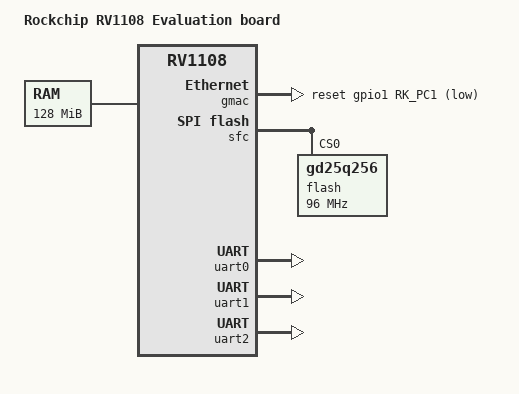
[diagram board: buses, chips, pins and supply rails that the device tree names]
/*
 * (C) Copyright 2016 Rockchip Electronics Co., Ltd
 *
 * SPDX-License-Identifier:     GPL-2.0+
 */

/dts-v1/;

#include "rv1108.dtsi"

/ {
	model = "Rockchip RV1108 Evaluation board";
	compatible = "rockchip,rv1108-evb", "rockchip,rv1108";

	memory@60000000 {
		device_type = "memory";
		reg = <0x60000000 0x08000000>;
	};

	chosen {
		stdout-path = "serial2:1500000n8";
	};
};

&gmac {
	status = "okay";
	clock_in_out = <0>;
	snps,reset-active-low;
	snps,reset-delays-us = <0 10000 1000000>;
	snps,reset-gpio = <&gpio1 RK_PC1 GPIO_ACTIVE_LOW>;
};

&sfc {
	status = "okay";
	flash@0 {
		compatible = "gd25q256","spi-flash";
		reg = <0>;
		spi-tx-bus-width = <1>;
		spi-rx-bus-width = <1>;
		spi-max-frequency = <96000000>;
	};
};

&uart0 {
	status = "okay";
};

&uart1 {
	status = "okay";
};

&uart2 {
	status = "okay";
};
